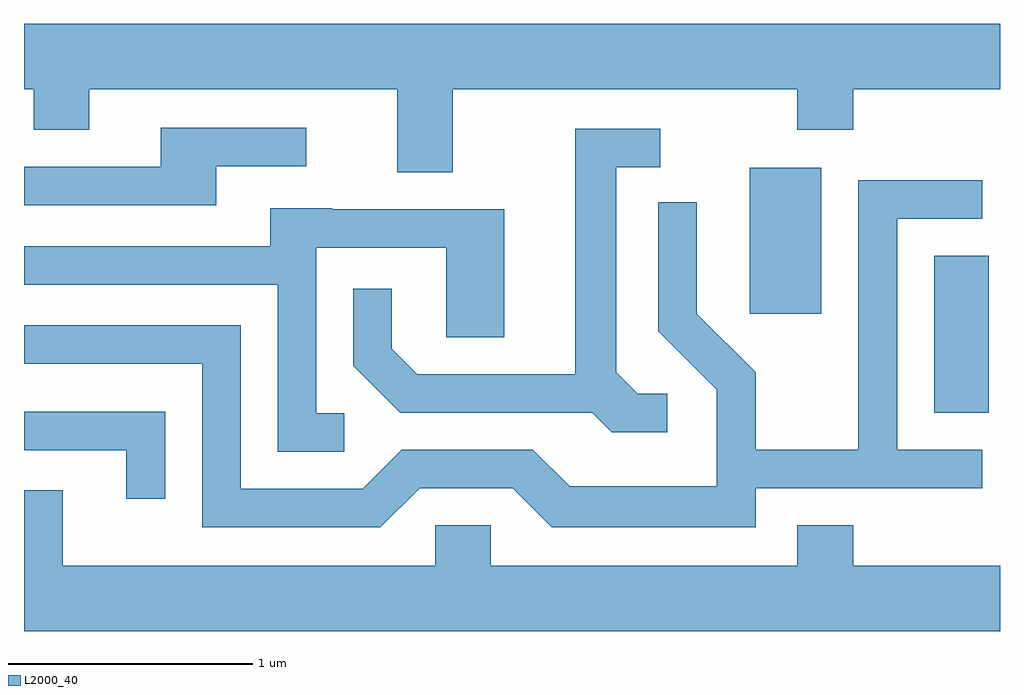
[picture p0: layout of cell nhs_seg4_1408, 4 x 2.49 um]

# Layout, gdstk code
import gdstk
lib = gdstk.Library(unit=1e-6, precision=1e-09)
def R(c, l, rs):  # rectangles x0, y0, x1, y1
    for r in rs: c.add(gdstk.rectangle(r[:2], r[2:], *l))
def P(c, l, *ps):  # polygons
    for p in ps: c.add(gdstk.Polygon(p, *l))
L2000_40 = (2000, 40)

nhs_seg4_1408 = lib.new_cell('nhs_seg4_1408')
R(nhs_seg4_1408, L2000_40, [(229.341,1351.131,229.564,1351.774), (228.586,1351.536,228.879,1352.134)])
P(nhs_seg4_1408, L2000_40, [(227.369,1352.456),(228.781,1352.456),(228.781,1352.291),(229.009,1352.291),(229.009,1352.456),(229.611,1352.456),(229.611,1352.724),(225.611,1352.724),(225.611,1352.456),(225.651,1352.456),(225.651,1352.291),(225.879,1352.291),(225.879,1352.456),(227.141,1352.456),(227.141,1352.116),(227.369,1352.116)],
  [(226.399,1352.141),(226.768,1352.141),(226.768,1352.299),(226.171,1352.299),(226.171,1352.139),(225.611,1352.139),(225.611,1351.981),(226.399,1351.981)],
  [(228.248,1351.209),(228.127,1351.209),(228.039,1351.297),(228.039,1352.136),(228.218,1352.136),(228.218,1352.294),(227.871,1352.294),(227.871,1351.289),(227.222,1351.289),(227.119,1351.392),(227.119,1351.638),(226.961,1351.638),(226.961,1351.324),(227.154,1351.131),(227.939,1351.131),(228.019,1351.051),(228.248,1351.051)],
  [(227.232,1350.821),(227.614,1350.821),(227.774,1350.661),(228.609,1350.661),(228.609,1350.821),(229.538,1350.821),(229.538,1350.979),(229.189,1350.979),(229.189,1351.926),(229.538,1351.926),(229.538,1352.084),(229.031,1352.084),(229.031,1350.979),(228.609,1350.979),(228.609,1351.297),(228.369,1351.537),(228.369,1351.993),(228.211,1351.993),(228.211,1351.464),(228.451,1351.224),(228.451,1350.829),(227.847,1350.829),(227.697,1350.979),(227.159,1350.979),(226.999,1350.819),(226.499,1350.819),(226.499,1351.489),(225.611,1351.489),(225.611,1351.331),(226.341,1351.331),(226.341,1350.661),(227.072,1350.661)],
  [(226.923,1351.129),(226.809,1351.129),(226.809,1351.806),(227.341,1351.806),(227.341,1351.441),(227.579,1351.441),(227.579,1351.964),(226.875,1351.964),(226.875,1351.969),(226.621,1351.969),(226.621,1351.814),(225.611,1351.814),(225.611,1351.656),(226.651,1351.656),(226.651,1350.971),(226.923,1350.971)],
  [(226.189,1351.134),(225.611,1351.134),(225.611,1350.976),(226.031,1350.976),(226.031,1350.778),(226.189,1350.778)],
  [(229.611,1350.504),(229.009,1350.504),(229.009,1350.669),(228.781,1350.669),(228.781,1350.504),(227.524,1350.504),(227.524,1350.669),(227.296,1350.669),(227.296,1350.504),(225.769,1350.504),(225.769,1350.814),(225.611,1350.814),(225.611,1350.236),(229.611,1350.236)])

lib.write_gds('nhs_seg4_1408.gds')
